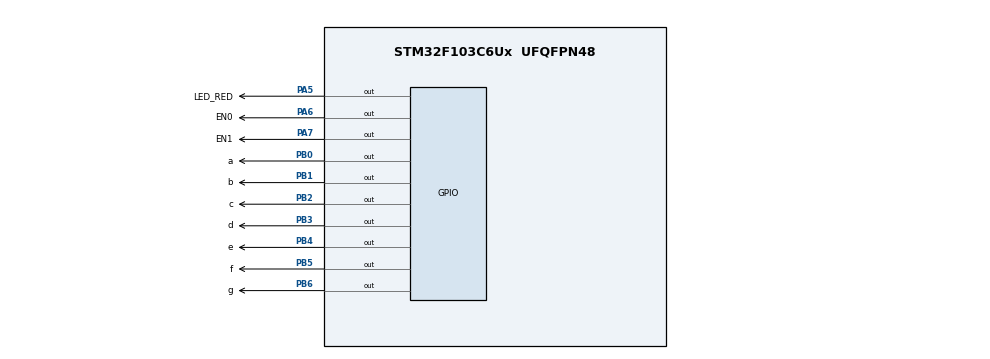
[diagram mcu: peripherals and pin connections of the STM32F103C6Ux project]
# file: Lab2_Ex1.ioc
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Mcu.Family=STM32F1
Mcu.Name=STM32F103C6Ux
Mcu.Package=UFQFPN48
NVIC.PriorityGroup=NVIC_PRIORITYGROUP_4
NVIC.TIM2_IRQn=true\:0\:0\:false\:false\:true\:true\:true\:true
PA5.GPIO_Label=LED_RED
PA5.Signal=GPIO_Output
PA6.GPIO_Label=EN0
PA6.Signal=GPIO_Output
PA7.GPIO_Label=EN1
PA7.Signal=GPIO_Output
PB0.GPIO_Label=a
PB0.Signal=GPIO_Output
PB1.GPIO_Label=b
PB1.Signal=GPIO_Output
PB2.GPIO_Label=c
PB2.Signal=GPIO_Output
PB3.GPIO_Label=d
PB3.Signal=GPIO_Output
PB4.GPIO_Label=e
PB4.Signal=GPIO_Output
PB5.GPIO_Label=f
PB5.Signal=GPIO_Output
PB6.GPIO_Label=g
PB6.Signal=GPIO_Output
ProjectManager.HeapSize=0x200
ProjectManager.StackSize=0x400
ProjectManager.TargetToolchain=STM32CubeIDE
RCC.APB1Freq_Value=8000000
RCC.APB2Freq_Value=8000000
TIM2.Period=9
TIM2.Prescaler=7999
VP_SYS_VS_ND.Mode=No_Debug
VP_TIM2_VS_ClockSourceINT.Mode=Internal
board=custom

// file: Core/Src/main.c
/* USER CODE BEGIN Header */
/**
  ******************************************************************************
  * @file           : main.c
  * @brief          : Main program body
  ******************************************************************************
  * @attention
  *
  * Copyright (c) 2024 STMicroelectronics.
  * All rights reserved.
  *
  * This software is licensed under terms that can be found in the LICENSE file
  * in the root directory of this software component.
  * If no LICENSE file comes with this software, it is provided AS-IS.
  *
  ******************************************************************************
  */
/* USER CODE END Header */
#include "main.h"

TIM_HandleTypeDef htim2;

void SystemClock_Config(void);
static void MX_GPIO_Init(void);
static void MX_TIM2_Init(void);
/* USER CODE BEGIN PFP */
int timer_flag[10];
int timer_counter[10];
void set_timer(int index, int counter)
{
	timer_flag[index] = 0;
	timer_counter[index] = counter/TICK;
}
void timer_run()
{
	for (int i = 0; i < 10; i++)
	{
		if (timer_counter[i] >= 0)
		{
			timer_counter[i]--;
			if (timer_counter[i] <= 0)
			{
				timer_flag[i] = 1;
			}
		}
	}
}
void timer_isr()
{
	timer_run();
}
void display7SEG(int num)
{
	if (num == 0)
	{
		HAL_GPIO_WritePin ( a_GPIO_Port , a_Pin ,GPIO_PIN_RESET ) ;
		HAL_GPIO_WritePin ( b_GPIO_Port , b_Pin ,GPIO_PIN_RESET ) ;
		HAL_GPIO_WritePin ( c_GPIO_Port , c_Pin ,GPIO_PIN_RESET ) ;
		HAL_GPIO_WritePin ( d_GPIO_Port , d_Pin ,GPIO_PIN_RESET ) ;
		HAL_GPIO_WritePin ( e_GPIO_Port , e_Pin ,GPIO_PIN_RESET ) ;
		HAL_GPIO_WritePin ( f_GPIO_Port , f_Pin ,GPIO_PIN_RESET ) ;
		HAL_GPIO_WritePin ( g_GPIO_Port , g_Pin ,GPIO_PIN_SET ) ;
	}
	if (num == 1)
	{
		HAL_GPIO_WritePin ( a_GPIO_Port , a_Pin ,GPIO_PIN_SET ) ;
		HAL_GPIO_WritePin ( b_GPIO_Port , b_Pin ,GPIO_PIN_RESET ) ;
		HAL_GPIO_WritePin ( c_GPIO_Port , c_Pin ,GPIO_PIN_RESET ) ;
		HAL_GPIO_WritePin ( d_GPIO_Port , d_Pin ,GPIO_PIN_SET ) ;
		HAL_GPIO_WritePin ( e_GPIO_Port , e_Pin ,GPIO_PIN_SET ) ;
		HAL_GPIO_WritePin ( f_GPIO_Port , f_Pin ,GPIO_PIN_SET ) ;
		HAL_GPIO_WritePin ( g_GPIO_Port , g_Pin ,GPIO_PIN_SET ) ;
	}
	if (num == 2)
	{
		HAL_GPIO_WritePin ( a_GPIO_Port , a_Pin ,GPIO_PIN_RESET ) ;
		HAL_GPIO_WritePin ( b_GPIO_Port , b_Pin ,GPIO_PIN_RESET ) ;
		HAL_GPIO_WritePin ( c_GPIO_Port , c_Pin ,GPIO_PIN_SET ) ;
		HAL_GPIO_WritePin ( d_GPIO_Port , d_Pin ,GPIO_PIN_RESET ) ;
		HAL_GPIO_WritePin ( e_GPIO_Port , e_Pin ,GPIO_PIN_RESET ) ;
		HAL_GPIO_WritePin ( f_GPIO_Port , f_Pin ,GPIO_PIN_SET ) ;
		HAL_GPIO_WritePin ( g_GPIO_Port , g_Pin ,GPIO_PIN_RESET ) ;
	}
	if (num == 3)
	{
		HAL_GPIO_WritePin ( a_GPIO_Port , a_Pin ,GPIO_PIN_RESET ) ;
		HAL_GPIO_WritePin ( b_GPIO_Port , b_Pin ,GPIO_PIN_RESET ) ;
		HAL_GPIO_WritePin ( c_GPIO_Port , c_Pin ,GPIO_PIN_RESET ) ;
		HAL_GPIO_WritePin ( d_GPIO_Port , d_Pin ,GPIO_PIN_RESET ) ;
		HAL_GPIO_WritePin ( e_GPIO_Port , e_Pin ,GPIO_PIN_SET ) ;
		HAL_GPIO_WritePin ( f_GPIO_Port , f_Pin ,GPIO_PIN_SET ) ;
		HAL_GPIO_WritePin ( g_GPIO_Port , g_Pin ,GPIO_PIN_RESET ) ;
	}
	if (num == 4)
	{
		HAL_GPIO_WritePin ( a_GPIO_Port , a_Pin ,GPIO_PIN_SET ) ;
		HAL_GPIO_WritePin ( b_GPIO_Port , b_Pin ,GPIO_PIN_RESET ) ;
		HAL_GPIO_WritePin ( c_GPIO_Port , c_Pin ,GPIO_PIN_RESET ) ;
		HAL_GPIO_WritePin ( d_GPIO_Port , d_Pin ,GPIO_PIN_SET ) ;
		HAL_GPIO_WritePin ( e_GPIO_Port , e_Pin ,GPIO_PIN_SET ) ;
		HAL_GPIO_WritePin ( f_GPIO_Port , f_Pin ,GPIO_PIN_RESET ) ;
		HAL_GPIO_WritePin ( g_GPIO_Port , g_Pin ,GPIO_PIN_RESET ) ;
	}
	if (num == 5)
	{
		HAL_GPIO_WritePin ( a_GPIO_Port , a_Pin ,GPIO_PIN_RESET ) ;
		HAL_GPIO_WritePin ( b_GPIO_Port , b_Pin ,GPIO_PIN_SET ) ;
		HAL_GPIO_WritePin ( c_GPIO_Port , c_Pin ,GPIO_PIN_RESET ) ;
		HAL_GPIO_WritePin ( d_GPIO_Port , d_Pin ,GPIO_PIN_RESET ) ;
		HAL_GPIO_WritePin ( e_GPIO_Port , e_Pin ,GPIO_PIN_SET ) ;
		HAL_GPIO_WritePin ( f_GPIO_Port , f_Pin ,GPIO_PIN_RESET ) ;
		HAL_GPIO_WritePin ( g_GPIO_Port , g_Pin ,GPIO_PIN_RESET ) ;
	}
	if (num == 6)
	{
		HAL_GPIO_WritePin ( a_GPIO_Port , a_Pin ,GPIO_PIN_RESET ) ;
		HAL_GPIO_WritePin ( b_GPIO_Port , b_Pin ,GPIO_PIN_SET ) ;
		HAL_GPIO_WritePin ( c_GPIO_Port , c_Pin ,GPIO_PIN_RESET ) ;
		HAL_GPIO_WritePin ( d_GPIO_Port , d_Pin ,GPIO_PIN_RESET ) ;
		HAL_GPIO_WritePin ( e_GPIO_Port , e_Pin ,GPIO_PIN_RESET ) ;
		HAL_GPIO_WritePin ( f_GPIO_Port , f_Pin ,GPIO_PIN_RESET ) ;
		HAL_GPIO_WritePin ( g_GPIO_Port , g_Pin ,GPIO_PIN_RESET ) ;
	}
	if (num == 7)
	{
		HAL_GPIO_WritePin ( a_GPIO_Port , a_Pin ,GPIO_PIN_RESET ) ;
		HAL_GPIO_WritePin ( b_GPIO_Port , b_Pin ,GPIO_PIN_RESET ) ;
		HAL_GPIO_WritePin ( c_GPIO_Port , c_Pin ,GPIO_PIN_RESET ) ;
		HAL_GPIO_WritePin ( d_GPIO_Port , d_Pin ,GPIO_PIN_SET ) ;
		HAL_GPIO_WritePin ( e_GPIO_Port , e_Pin ,GPIO_PIN_SET ) ;
		HAL_GPIO_WritePin ( f_GPIO_Port , f_Pin ,GPIO_PIN_SET ) ;
		HAL_GPIO_WritePin ( g_GPIO_Port , g_Pin ,GPIO_PIN_SET ) ;
	}
	if (num == 8)
	{
		HAL_GPIO_WritePin ( a_GPIO_Port , a_Pin ,GPIO_PIN_RESET ) ;
		HAL_GPIO_WritePin ( b_GPIO_Port , b_Pin ,GPIO_PIN_RESET ) ;
		HAL_GPIO_WritePin ( c_GPIO_Port , c_Pin ,GPIO_PIN_RESET ) ;
		HAL_GPIO_WritePin ( d_GPIO_Port , d_Pin ,GPIO_PIN_RESET ) ;
		HAL_GPIO_WritePin ( e_GPIO_Port , e_Pin ,GPIO_PIN_RESET ) ;
		HAL_GPIO_WritePin ( f_GPIO_Port , f_Pin ,GPIO_PIN_RESET ) ;
		HAL_GPIO_WritePin ( g_GPIO_Port , g_Pin ,GPIO_PIN_RESET ) ;
	}
	if (num == 9)
	{
		HAL_GPIO_WritePin ( a_GPIO_Port , a_Pin ,GPIO_PIN_RESET ) ;
		HAL_GPIO_WritePin ( b_GPIO_Port , b_Pin ,GPIO_PIN_RESET ) ;
		HAL_GPIO_WritePin ( c_GPIO_Port , c_Pin ,GPIO_PIN_RESET ) ;
		HAL_GPIO_WritePin ( d_GPIO_Port , d_Pin ,GPIO_PIN_RESET ) ;
		HAL_GPIO_WritePin ( e_GPIO_Port , e_Pin ,GPIO_PIN_SET ) ;
		HAL_GPIO_WritePin ( f_GPIO_Port , f_Pin ,GPIO_PIN_RESET ) ;
		HAL_GPIO_WritePin ( g_GPIO_Port , g_Pin ,GPIO_PIN_RESET ) ;
	}
}

/* USER CODE END PFP */

int main(void)
{

  /* MCU Configuration--------------------------------------------------------*/

  /* Reset of all peripherals, Initializes the Flash interface and the Systick. */
  HAL_Init();

  /* Configure the system clock */
  SystemClock_Config();

  /* Initialize all configured peripherals */
  MX_GPIO_Init();
  MX_TIM2_Init();
  /* USER CODE BEGIN 2 */
  HAL_TIM_Base_Start_IT (& htim2 ) ;
  /* USER CODE END 2 */

  /* Infinite loop */
  /* USER CODE BEGIN WHILE */

  while (1)
  {
	  //2_1

	  //
    /* USER CODE END WHILE */

  }
}

void SystemClock_Config(void)
{
  RCC_OscInitTypeDef RCC_OscInitStruct = {0};
  RCC_ClkInitTypeDef RCC_ClkInitStruct = {0};

  /** Initializes the RCC Oscillators according to the specified parameters
  * in the RCC_OscInitTypeDef structure.
  */
  RCC_OscInitStruct.OscillatorType = RCC_OSCILLATORTYPE_HSI;
  RCC_OscInitStruct.HSIState = RCC_HSI_ON;
  RCC_OscInitStruct.HSICalibrationValue = RCC_HSICALIBRATION_DEFAULT;
  RCC_OscInitStruct.PLL.PLLState = RCC_PLL_NONE;
  if (HAL_RCC_OscConfig(&RCC_OscInitStruct) != HAL_OK)
  {
    Error_Handler();
  }

  /** Initializes the CPU, AHB and APB buses clocks
  */
  RCC_ClkInitStruct.ClockType = RCC_CLOCKTYPE_HCLK|RCC_CLOCKTYPE_SYSCLK
                              |RCC_CLOCKTYPE_PCLK1|RCC_CLOCKTYPE_PCLK2;
  RCC_ClkInitStruct.SYSCLKSource = RCC_SYSCLKSOURCE_HSI;
  RCC_ClkInitStruct.AHBCLKDivider = RCC_SYSCLK_DIV1;
  RCC_ClkInitStruct.APB1CLKDivider = RCC_HCLK_DIV1;
  RCC_ClkInitStruct.APB2CLKDivider = RCC_HCLK_DIV1;

  if (HAL_RCC_ClockConfig(&RCC_ClkInitStruct, FLASH_LATENCY_0) != HAL_OK)
  {
    Error_Handler();
  }
}

static void MX_TIM2_Init(void)
{

  TIM_ClockConfigTypeDef sClockSourceConfig = {0};
  TIM_MasterConfigTypeDef sMasterConfig = {0};

  htim2.Instance = TIM2;
  htim2.Init.Prescaler = 7999;
  htim2.Init.CounterMode = TIM_COUNTERMODE_UP;
  htim2.Init.Period = 9;
  htim2.Init.ClockDivision = TIM_CLOCKDIVISION_DIV1;
  htim2.Init.AutoReloadPreload = TIM_AUTORELOAD_PRELOAD_DISABLE;
  if (HAL_TIM_Base_Init(&htim2) != HAL_OK)
  {
    Error_Handler();
  }
  sClockSourceConfig.ClockSource = TIM_CLOCKSOURCE_INTERNAL;
  if (HAL_TIM_ConfigClockSource(&htim2, &sClockSourceConfig) != HAL_OK)
  {
    Error_Handler();
  }
  sMasterConfig.MasterOutputTrigger = TIM_TRGO_RESET;
  sMasterConfig.MasterSlaveMode = TIM_MASTERSLAVEMODE_DISABLE;
  if (HAL_TIMEx_MasterConfigSynchronization(&htim2, &sMasterConfig) != HAL_OK)
  {
    Error_Handler();
  }

}

static void MX_GPIO_Init(void)
{
  GPIO_InitTypeDef GPIO_InitStruct = {0};

  /* GPIO Ports Clock Enable */
  __HAL_RCC_GPIOA_CLK_ENABLE();
  __HAL_RCC_GPIOB_CLK_ENABLE();

  /*Configure GPIO pin Output Level */
  HAL_GPIO_WritePin(GPIOA, LED_RED_Pin|EN0_Pin|EN1_Pin, GPIO_PIN_RESET);

  /*Configure GPIO pin Output Level */
  HAL_GPIO_WritePin(GPIOB, a_Pin|b_Pin|c_Pin|d_Pin
                          |e_Pin|f_Pin|g_Pin, GPIO_PIN_RESET);

  /*Configure GPIO pins : LED_RED_Pin EN0_Pin EN1_Pin */
  GPIO_InitStruct.Pin = LED_RED_Pin|EN0_Pin|EN1_Pin;
  GPIO_InitStruct.Mode = GPIO_MODE_OUTPUT_PP;
  GPIO_InitStruct.Pull = GPIO_NOPULL;
  GPIO_InitStruct.Speed = GPIO_SPEED_FREQ_LOW;
  HAL_GPIO_Init(GPIOA, &GPIO_InitStruct);

  /*Configure GPIO pins : a_Pin b_Pin c_Pin d_Pin
                           e_Pin f_Pin g_Pin */
  GPIO_InitStruct.Pin = a_Pin|b_Pin|c_Pin|d_Pin
                          |e_Pin|f_Pin|g_Pin;
  GPIO_InitStruct.Mode = GPIO_MODE_OUTPUT_PP;
  GPIO_InitStruct.Pull = GPIO_NOPULL;
  GPIO_InitStruct.Speed = GPIO_SPEED_FREQ_LOW;
  HAL_GPIO_Init(GPIOB, &GPIO_InitStruct);

}

/* USER CODE BEGIN 4 */
int num = 1;
void HAL_TIM_PeriodElapsedCallback ( TIM_HandleTypeDef * htim )
{
	  if (timer_flag[0] == 1)
	  {
		  HAL_GPIO_TogglePin(GPIOA, GPIO_PIN_5);
		  switch(num){
		  	  case 1 :
		  		  HAL_GPIO_WritePin ( EN0_GPIO_Port , EN0_Pin ,GPIO_PIN_RESET ) ;
		  		  HAL_GPIO_WritePin ( EN1_GPIO_Port , EN1_Pin ,GPIO_PIN_SET ) ;
		  		  display7SEG(1);
		  	  	  num = 2;
		  		  break;
		  	  case 2 :
		  		  HAL_GPIO_WritePin ( EN0_GPIO_Port , EN0_Pin ,GPIO_PIN_SET ) ;
		  		  HAL_GPIO_WritePin ( EN1_GPIO_Port , EN1_Pin ,GPIO_PIN_RESET ) ;
		  		  display7SEG(2);
		  	  	  num = 1;
		  		  break;
		  	  default:
		  		  break;
		  }
		  set_timer(0, 500);
	  }
	 timer_run();
}
/* USER CODE END 4 */

void Error_Handler(void)
{
  __disable_irq();
  while (1)
  {
  }
}
